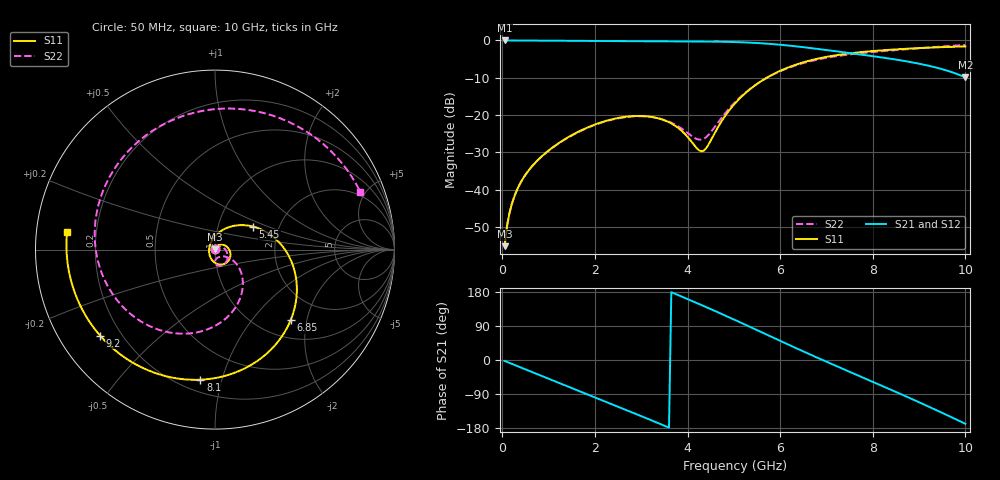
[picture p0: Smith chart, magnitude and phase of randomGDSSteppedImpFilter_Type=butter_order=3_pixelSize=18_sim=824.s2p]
! freq	dB(S11)	phase(S11)	dB(S12)	phase(S12)
!  dB(S21)	phase(S21)	dB(S22)	phase(S22)
!S-par simulation data
#  GHz  S  DB  R 50
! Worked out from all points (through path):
!   200 points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, 50 MHz to 10 GHz, reference 50 ohm
!   highest |S21| = -0.01 dB at 50 MHz (marker M1); lowest = -9.9 dB at 10 GHz (marker M2)
!   group delay of S21, straight-line fit = 147 ps
!   lowest |S11| = -55.1 dB at 50 MHz (marker M3), VSWR 1.00, Z = 50 + j0.169 ohm
!   |S11| at or under -10 dB: start of sweep to 5.71 GHz
!   |S22| runs from -55.1 to -1.2 dB; largest |S21 - S12| = 0
!   S11 on the Smith chart (normalised r, x): 50 MHz: 1.00, +0.00; 5.45 GHz: 1.47, +0.40; 6.85 GHz: 1.36, -1.61; 8.1 GHz: 0.28, -0.86; 9.2 GHz: 0.12, -0.33; 10 GHz: 0.09, +0.06
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0.05  -55.15 74.9  -0.01 -2.5  -0.01 -2.5  -55.11 72.1
0.1  -49.92 77.2  -0.01 -5.0  -0.01 -5.0  -49.87 75.1
0.2  -44.12 77.3  -0.02 -9.9  -0.02 -9.9  -44.08 73.5
0.5  -36.01 69.7  -0.03 -24.6  -0.03 -24.6  -36.01 59.1
1.15  -28.11 44.9  -0.07 -56.5  -0.07 -56.5  -28.20 24.1
1.75  -23.83 17.8  -0.12 -86.0  -0.12 -86.0  -23.94 -7.1
2.5  -20.79 -19.4  -0.18 -123.1  -0.18 -123.1  -20.89 -43.6
3.4  -20.99 -69.3  -0.25 -168.3  -0.25 -168.3  -20.94 -81.3
3.85  -23.97 -102.7  -0.27 168.7  -0.27 168.7  -23.44 -90.1
4.3  -29.72 176.2  -0.29 145.1  -0.29 145.1  -26.59 -61.9
5.05  -16.53 57.5  -0.44 104.2  -0.44 104.2  -16.24 -35.1
5.45  -12.11 31.2  -0.65 81.7  -0.65 81.7  -12.08 -51.4
6.1  -7.61 -5.7  -1.27 44.9  -1.27 44.9  -7.75 -86.2
6.7  -5.21 -36.0  -2.10 11.7  -2.10 11.7  -5.43 -121.6
6.85  -4.78 -43.1  -2.33 3.6  -2.33 3.6  -5.02 -130.7
7.55  -3.39 -73.9  -3.46 -33.7  -3.46 -33.7  -3.67 -174.6
8.1  -2.74 -96.4  -4.39 -62.8  -4.39 -62.8  -2.99 149.2
8.35  -2.52 -106.5  -4.85 -76.1  -4.85 -76.1  -2.73 132.2
8.8  -2.18 -125.3  -5.76 -100.5  -5.76 -100.5  -2.29 101.3
9.2  -1.94 -143.2  -6.77 -122.6  -6.77 -122.6  -1.90 73.9
9.55  -1.77 -160.7  -7.89 -142.4  -7.89 -142.4  -1.57 50.5
10  -1.61 173.1  -9.90 -168.3  -9.90 -168.3  -1.20 21.7
